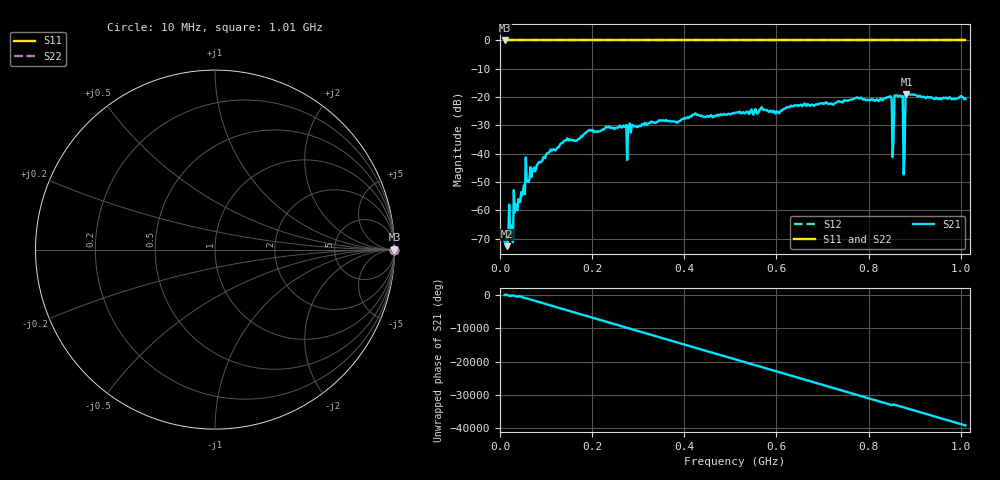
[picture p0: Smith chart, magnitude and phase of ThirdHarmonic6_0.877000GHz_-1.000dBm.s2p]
! 8/16/2025 4:55:04 AM
! C:\ANRITSUVNA\TEMP\TEMP.S2P
! CHANNEL.1
! TR.MEASUREMENT
! RAW.DATA
! RF.CORRECTION.OFF
! AVERAGING.OFF
! IF.BANDWIDTH: 5KHZ
! SWEEPTYPE:  FREQ.SWEEP(Linear)
! Reference Plane Port Info
! PORT:  PORT1  PORT2
! DISTANCE:  0  m  0  m
! TIME:  0  s  0  s
! PHASE.OFFSET:  0  deg.  0  deg.
! LOSS:  0  dB  0  dB
! REF.LOSS:  0  dB  0  dB
! REF.FREQ:  0  Hz  0  Hz
! Power Info
! POWER:  -20  dBm  -20  dBm
! EFF.POWER:  -20  dBm  -20  dBm
! SOURCE.ATTEN:  0  dB  0  dB
! TEST.ATTEN:  0  dB  0  dB
# GHZ S RI R 50.0
! FREQ.GHZ  S11RE  S11IM  S21RE  S21IM  S12RE  S12IM  S22RE  S22IM
!; PortSelection: Port_12
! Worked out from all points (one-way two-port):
!   501 points, 10 MHz to 1.01 GHz, reference 50 ohm
!   highest |S21| = -19.02 dB at 882 MHz (marker M1); lowest = -72.7 dB at 16 MHz (marker M2)
!   lowest |S11| = 0.0 dB at 10 MHz (marker M3)
!   |S11| at or under -10 dB: nowhere
!   |S22| runs from 0.0 to 0.0 dB; largest |S21 - S12| = 1.1
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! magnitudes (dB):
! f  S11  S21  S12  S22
! 10 MHz  0.0  -71.0  0.0  0.0
! 16 MHz  0.0  -72.7  0.0  0.0
! 60 MHz  0.0  -50.0  0.0  0.0
! 106 MHz  0.0  -39.6  0.0  0.0
! 178 MHz  0.0  -34.0  0.0  0.0
! 270 MHz  0.0  -30.6  0.0  0.0
! 280 MHz  0.0  -30.0  0.0  0.0
! 282 MHz  0.0  -29.3  0.0  0.0
! 344 MHz  0.0  -28.4  0.0  0.0
! 510 MHz  0.0  -25.6  0.0  0.0
! 678 MHz  0.0  -22.7  0.0  0.0
! 844 MHz  0.0  -19.9  0.0  0.0
! 846 MHz  0.0  -19.9  0.0  0.0
! 850 MHz  0.0  -20.9  0.0  0.0
! 856 MHz  0.0  -19.6  0.0  0.0
! 860 MHz  0.0  -19.4  0.0  0.0
! 870 MHz  0.0  -19.7  0.0  0.0
! 874 MHz  0.0  -19.6  0.0  0.0
! 880 MHz  0.0  -19.5  0.0  0.0
! 882 MHz  0.0  -19.0  0.0  0.0
! 886 MHz  0.0  -19.1  0.0  0.0
! 1.01 GHz  0.0  -20.7  0.0  0.0
